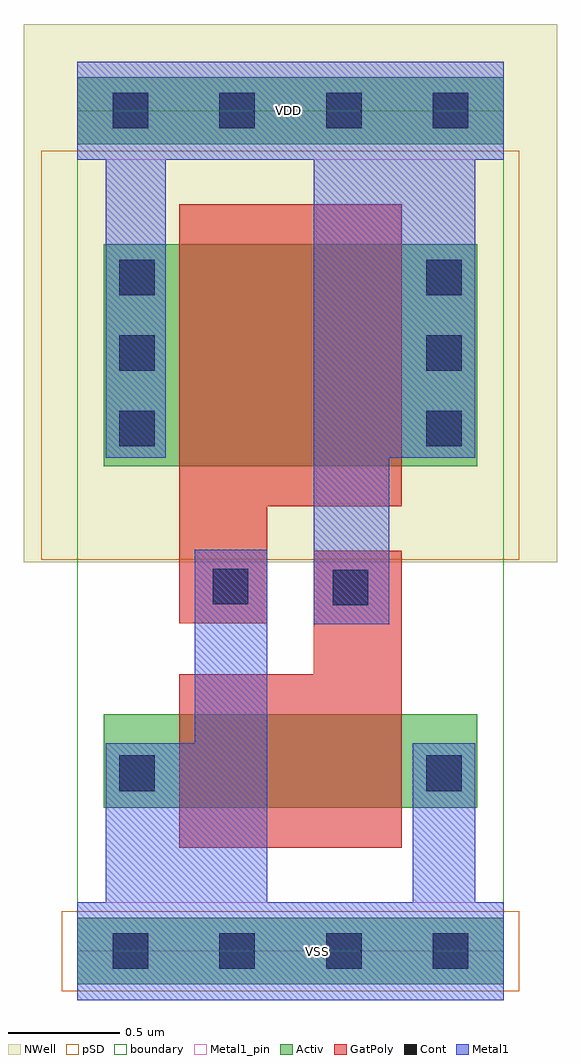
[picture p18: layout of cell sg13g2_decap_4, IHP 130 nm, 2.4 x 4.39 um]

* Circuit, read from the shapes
.subckt sg13g2_decap_4 VDD VSS
XM1 VSS VDD VSS VSS sg13_lv_nmos w=0.42u l=1u
XM2 VDD VSS VDD VDD sg13_lv_pmos w=1u l=1u
.ends

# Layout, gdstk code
import gdstk
lib = gdstk.Library(unit=1e-6, precision=5e-09)
def R(c, l, rs):  # rectangles x0, y0, x1, y1
    for r in rs: c.add(gdstk.rectangle(r[:2], r[2:], *l))
def A(c, l, x, y, w, h, nx, ny, dx, dy):  # array of equal rectangles
    R(c, l, [(x+i*dx, y+j*dy, x+i*dx+w, y+j*dy+h) for i in range(nx) for j in range(ny)])
def P(c, l, *ps):  # polygons
    for p in ps: c.add(gdstk.Polygon(p, *l))
Activ = (1, 0)
GatPoly = (5, 0)
Cont = (6, 0)
Metal1 = (8, 0)
Metal1_pin = (8, 2)
pSD = (14, 0)
NWell = (31, 0)
boundary = (189, 4)

sg13g2_decap_4 = lib.new_cell('sg13g2_decap_4')
R(sg13g2_decap_4, Activ, [(0,-0.15,1.92,0.15), (0.12,0.645,1.8,1.065), (0.12,2.18,1.8,3.18), (0,3.63,1.92,3.93)])
P(sg13g2_decap_4, GatPoly, [(0.46,1.475),(0.46,3.36),(1.46,3.36),(1.46,2),(0.855,2),(0.855,1.475)],
  [(0.46,0.465),(0.46,1.245),(1.065,1.245),(1.065,1.8),(1.46,1.8),(1.46,0.465)])
A(sg13g2_decap_4, Cont, 0.16, -0.08, 0.16, 0.16, 4, 2, 0.48, 3.78)
A(sg13g2_decap_4, Cont, 0.19, 2.27, 0.16, 0.16, 1, 3, 0, 0.34)
A(sg13g2_decap_4, Cont, 1.57, 2.27, 0.16, 0.16, 1, 3, 0, 0.34)
R(sg13g2_decap_4, Cont, [(0.19,0.72,0.35,0.88), (1.57,0.72,1.73,0.88), (1.15,1.555,1.31,1.715), (0.61,1.56,0.77,1.72)])
P(sg13g2_decap_4, Metal1, [(0,-0.22),(0,0.22),(0.13,0.22),(0.13,0.935),(0.53,0.935),(0.53,1.805),(0.855,1.805),(0.855,0.22),(1.51,0.22),(1.51,0.935),(1.79,0.935),(1.79,0.22),(1.92,0.22),(1.92,-0.22)],
  [(1.065,1.47),(1.065,3.56),(0.4,3.56),(0.4,2.22),(0.13,2.22),(0.13,3.56),(0,3.56),(0,4),(1.92,4),(1.92,3.56),(1.79,3.56),(1.79,2.22),(1.405,2.22),(1.405,1.47)])
R(sg13g2_decap_4, Metal1_pin, [(0,-0.22,1.92,0.22), (0,3.56,1.92,4)])
R(sg13g2_decap_4, pSD, [(-0.07,-0.18,1.99,0.18), (-0.16,1.76,1.99,3.6)])
R(sg13g2_decap_4, NWell, [(-0.24,1.75,2.16,4.17)])
R(sg13g2_decap_4, boundary, [(0,0,1.92,3.78)])
sg13g2_decap_4.add(gdstk.Label('VDD', (0.95,3.78), layer=8, texttype=25))
sg13g2_decap_4.add(gdstk.Label('VSS', (1.08,0), layer=8, texttype=25))

lib.write_gds('sg13g2_decap_4.gds')
